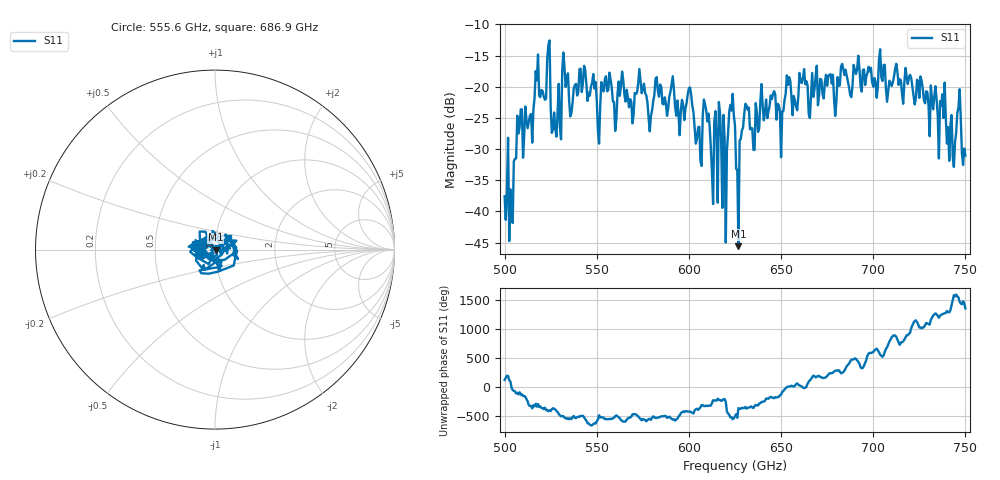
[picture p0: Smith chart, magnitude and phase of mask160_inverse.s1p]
!Created with skrf (http://scikit-rf.org).
# GHz S MA R 50.0
!freq magS11 angS11
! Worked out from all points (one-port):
!   401 points, 500 GHz to 750 GHz, reference 50 ohm
!   lowest |S11| = -45.6 dB at 626.9 GHz (marker M1), VSWR 1.01, Z = 50.5 - j0.0776 ohm
!   |S11| at or under -10 dB: start of sweep to end of sweep
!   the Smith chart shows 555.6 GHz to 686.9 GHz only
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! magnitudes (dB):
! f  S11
! 500 GHz  -37.6
! 503.8 GHz  -40.0
! 508.1 GHz  -26.6
! 513.8 GHz  -24.6
! 517.5 GHz  -19.0
! 523.8 GHz  -13.3
! 526.9 GHz  -24.1
! 531.2 GHz  -17.5
! 562.5 GHz  -21.5
! 593.8 GHz  -22.2
! 600.6 GHz  -20.1
! 605.6 GHz  -26.4
! 609.4 GHz  -23.8
! 611.9 GHz  -29.7
! 617.5 GHz  -28.7
! 619.4 GHz  -28.4
! 622.5 GHz  -22.9
! 625 GHz  -26.2
! 626.9 GHz  -45.6
! 631.2 GHz  -23.0
! 634.4 GHz  -26.7
! 656.2 GHz  -24.6
! 687.5 GHz  -21.3
! 718.8 GHz  -19.6
! 737.5 GHz  -21.2
! 742.5 GHz  -24.5
! 746.2 GHz  -23.4
! 750 GHz  -31.1
